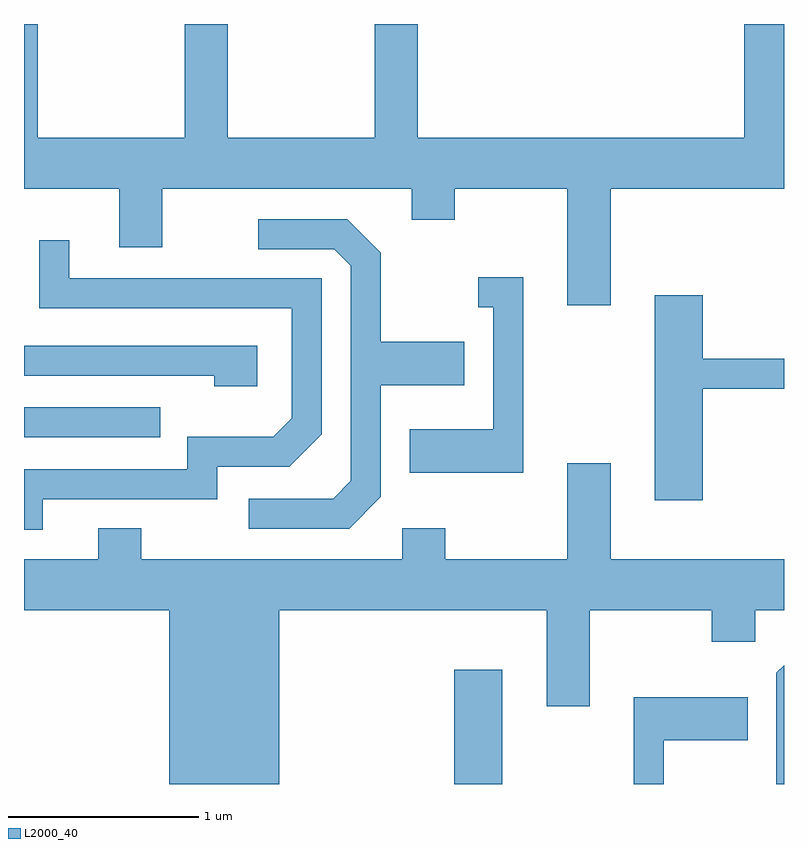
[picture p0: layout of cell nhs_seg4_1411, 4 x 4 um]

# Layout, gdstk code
import gdstk
lib = gdstk.Library(unit=1e-6, precision=1e-09)
def R(c, l, rs):  # rectangles x0, y0, x1, y1
    for r in rs: c.add(gdstk.rectangle(r[:2], r[2:], *l))
def P(c, l, *ps):  # polygons
    for p in ps: c.add(gdstk.Polygon(p, *l))
L2000_40 = (2000, 40)

nhs_seg4_1411 = lib.new_cell('nhs_seg4_1411')
R(nhs_seg4_1411, L2000_40, [(227.876,1355.982,228.129,1356.584), (225.611,1357.806,226.328,1357.964)])
P(nhs_seg4_1411, L2000_40, [(228.699,1359.116),(229.611,1359.116),(229.611,1359.982),(229.401,1359.982),(229.401,1359.384),(227.684,1359.384),(227.684,1359.982),(227.456,1359.982),(227.456,1359.384),(226.684,1359.384),(226.684,1359.982),(226.456,1359.982),(226.456,1359.384),(225.684,1359.384),(225.684,1359.982),(225.611,1359.982),(225.611,1359.116),(226.111,1359.116),(226.111,1358.806),(226.339,1358.806),(226.339,1359.116),(227.651,1359.116),(227.651,1358.951),(227.879,1358.951),(227.879,1359.116),(228.471,1359.116),(228.471,1358.501),(228.699,1358.501)],
  [(227.489,1357.494),(227.489,1358.081),(227.929,1358.081),(227.929,1358.309),(227.489,1358.309),(227.489,1358.777),(227.312,1358.954),(226.843,1358.954),(226.843,1358.796),(227.244,1358.796),(227.331,1358.709),(227.331,1357.577),(227.239,1357.484),(226.793,1357.484),(226.793,1357.326),(227.322,1357.326)],
  [(225.709,1357.481),(226.629,1357.481),(226.629,1357.651),(227.007,1357.651),(227.179,1357.824),(227.179,1358.644),(225.849,1358.644),(225.849,1358.843),(225.691,1358.843),(225.691,1358.486),(227.021,1358.486),(227.021,1357.907),(226.924,1357.809),(226.471,1357.809),(226.471,1357.639),(225.611,1357.639),(225.611,1357.321),(225.709,1357.321)],
  [(228.239,1358.649),(228.003,1358.649),(228.003,1358.491),(228.081,1358.491),(228.081,1357.849),(227.641,1357.849),(227.641,1357.621),(228.239,1357.621)],
  [(229.184,1358.061),(229.611,1358.061),(229.611,1358.219),(229.184,1358.219),(229.184,1358.554),(228.931,1358.554),(228.931,1357.476),(229.184,1357.476)],
  [(226.839,1358.289),(225.611,1358.289),(225.611,1358.131),(226.611,1358.131),(226.611,1358.076),(226.839,1358.076)],
  [(226.954,1356.896),(228.361,1356.896),(228.361,1356.391),(228.589,1356.391),(228.589,1356.896),(229.231,1356.896),(229.231,1356.731),(229.459,1356.731),(229.459,1356.896),(229.611,1356.896),(229.611,1357.164),(228.699,1357.164),(228.699,1357.669),(228.471,1357.669),(228.471,1357.164),(227.829,1357.164),(227.829,1357.329),(227.601,1357.329),(227.601,1357.164),(226.229,1357.164),(226.229,1357.329),(226.001,1357.329),(226.001,1357.164),(225.611,1357.164),(225.611,1356.896),(226.376,1356.896),(226.376,1355.982),(226.954,1355.982)],
  [(229.611,1356.607),(229.571,1356.567),(229.571,1355.982),(229.611,1355.982)],
  [(228.979,1356.211),(229.419,1356.211),(229.419,1356.439),(228.821,1356.439),(228.821,1355.982),(228.979,1355.982)])

lib.write_gds('nhs_seg4_1411.gds')
